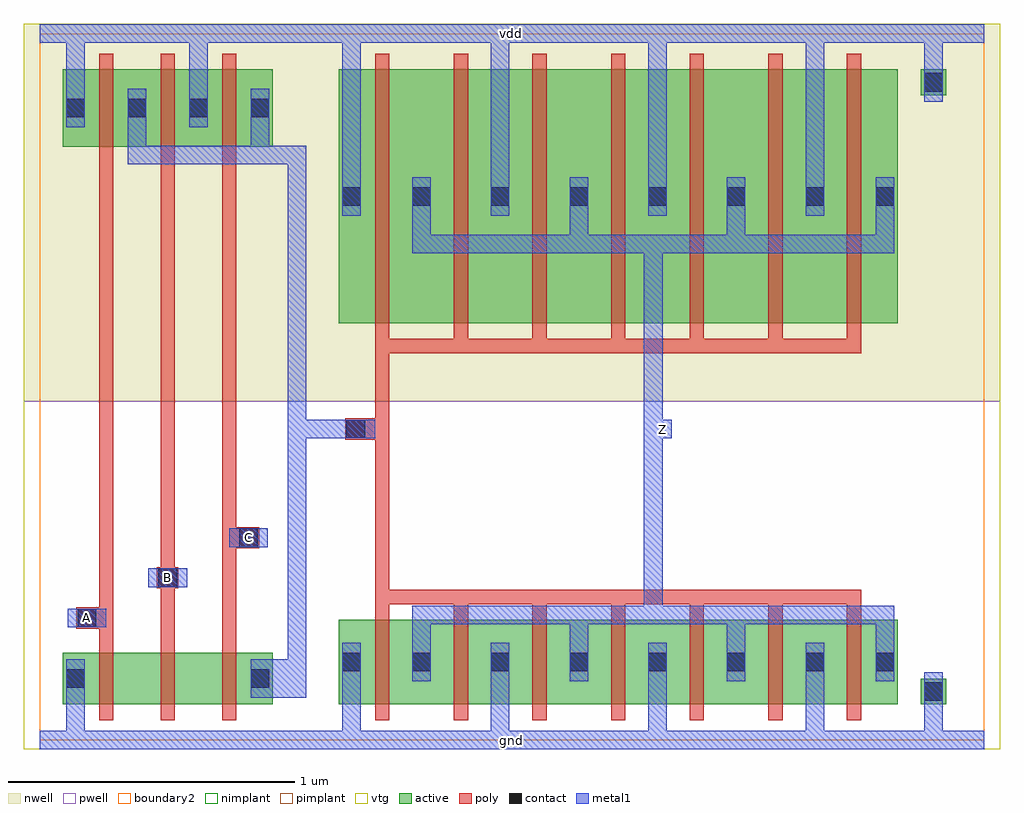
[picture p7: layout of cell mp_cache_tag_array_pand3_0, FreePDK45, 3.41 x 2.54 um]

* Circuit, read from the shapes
.subckt mp_cache_tag_array_pand3_0 A B C Z gnd vdd
M1 mp_cache_tag_array_pnand3_0_0/mp_cache_tag_array_nmos_m1_w0_180_sm1_dactive_3/D A gnd gnd nfet w=0.18u l=0.05u
M2 mp_cache_tag_array_pnand3_0_0/mp_cache_tag_array_nmos_m1_w0_180_sactive_dactive_4/D B mp_cache_tag_array_pnand3_0_0/mp_cache_tag_array_nmos_m1_w0_180_sm1_dactive_3/D gnd nfet w=0.18u l=0.05u
M3 mp_cache_tag_array_pdriver_3_1/A C mp_cache_tag_array_pnand3_0_0/mp_cache_tag_array_nmos_m1_w0_180_sactive_dactive_4/D gnd nfet w=0.18u l=0.05u
M4 Z mp_cache_tag_array_pdriver_3_1/A gnd gnd nfet w=0.295u l=0.05u m=7
M5 mp_cache_tag_array_pdriver_3_1/A A vdd vdd pfet w=0.27u l=0.05u
M6 vdd B mp_cache_tag_array_pdriver_3_1/A vdd pfet w=0.27u l=0.05u
M7 mp_cache_tag_array_pdriver_3_1/A C vdd vdd pfet w=0.27u l=0.05u
M8 Z mp_cache_tag_array_pdriver_3_1/A vdd vdd pfet w=0.8875u l=0.05u m=7
.ends

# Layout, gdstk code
import gdstk
lib = gdstk.Library(unit=1e-6, precision=5e-10)
def R(c, l, rs):  # rectangles x0, y0, x1, y1
    for r in rs: c.add(gdstk.rectangle(r[:2], r[2:], *l))
def A(c, l, x, y, w, h, nx, ny, dx, dy):  # array of equal rectangles
    R(c, l, [(x+i*dx, y+j*dy, x+i*dx+w, y+j*dy+h) for i in range(nx) for j in range(ny)])
active = (1, 0)
pwell = (2, 0)
nwell = (3, 0)
nimplant = (4, 0)
pimplant = (5, 0)
vtg = (6, 0)
poly = (9, 0)
contact = (10, 0)
metal1 = (11, 0)
boundary2 = (239, 0)

mp_cache_tag_array_conta = lib.new_cell('mp_cache_tag_array_contact_11')
R(mp_cache_tag_array_conta, active, [(0,0.0225,0.09,0.1125)])
R(mp_cache_tag_array_conta, nwell, [(-0.055,-0.0325,0.145,0.1675)])
R(mp_cache_tag_array_conta, pimplant, [(0,0.0225,0.09,0.1125)])
R(mp_cache_tag_array_conta, contact, [(0.0125,0.035,0.0775,0.1)])
R(mp_cache_tag_array_conta, metal1, [(0.0125,0,0.0775,0.135)])
R(mp_cache_tag_array_conta, boundary2, [(-0.055,-0.0325,0.145,0.1675)])

mp_cache_tag_array_pmos_ = lib.new_cell('mp_cache_tag_array_pmos_m1_w0_270_sm1_dm1')
R(mp_cache_tag_array_pmos_, active, [(0,0,0.305,0.27)])
R(mp_cache_tag_array_pmos_, nwell, [(-0.08,-0.08,0.385,0.35)])
R(mp_cache_tag_array_pmos_, pimplant, [(0,0,0.305,0.27)])
R(mp_cache_tag_array_pmos_, vtg, [(-0.08,-0.08,0.385,0.35)])
R(mp_cache_tag_array_pmos_, poly, [(0.1275,-0.055,0.1775,0.325), (0.1275,-0.055,0.1775,0.325)])
R(mp_cache_tag_array_pmos_, metal1, [(0.0125,0.0675,0.0775,0.2025), (0.2275,0.0675,0.2925,0.2025)])
R(mp_cache_tag_array_pmos_, boundary2, [(-0.08,-0.08,0.385,0.35)])
mp_cache_tag_array_pmos_.add(gdstk.Reference(mp_cache_tag_array_conta, (0,0.0675)))
mp_cache_tag_array_pmos_.add(gdstk.Reference(mp_cache_tag_array_conta, (0.215,0.0675)))
mp_cache_tag_array_pmos_.add(gdstk.Label('G', (0.1525,0.135), layer=9, texttype=0))
mp_cache_tag_array_pmos_.add(gdstk.Label('S', (0.045,0.135), layer=11, texttype=0))
mp_cache_tag_array_pmos_.add(gdstk.Label('D', (0.26,0.135), layer=11, texttype=0))

c_mp_cache_tag_array_conta = lib.new_cell('mp_cache_tag_array_contact_10')
R(c_mp_cache_tag_array_conta, active, [(0,0.0225,0.09,0.1125)])
R(c_mp_cache_tag_array_conta, pwell, [(-0.055,-0.0325,0.145,0.1675)])
R(c_mp_cache_tag_array_conta, nimplant, [(0,0.0225,0.09,0.1125)])
R(c_mp_cache_tag_array_conta, contact, [(0.0125,0.035,0.0775,0.1)])
R(c_mp_cache_tag_array_conta, metal1, [(0.0125,0,0.0775,0.135)])
R(c_mp_cache_tag_array_conta, boundary2, [(-0.055,-0.0325,0.145,0.1675)])

mp_cache_tag_array_nmos_ = lib.new_cell('mp_cache_tag_array_nmos_m1_w0_180_sm1_dactive')
R(mp_cache_tag_array_nmos_, active, [(0,0,0.305,0.18), (0.215,0.045,0.305,0.135)])
R(mp_cache_tag_array_nmos_, pwell, [(-0.08,-0.08,0.385,0.26)])
R(mp_cache_tag_array_nmos_, nimplant, [(0,0,0.305,0.18)])
R(mp_cache_tag_array_nmos_, vtg, [(-0.08,-0.08,0.385,0.26)])
R(mp_cache_tag_array_nmos_, poly, [(0.1275,-0.055,0.1775,0.235), (0.1275,-0.055,0.1775,0.235)])
R(mp_cache_tag_array_nmos_, metal1, [(0.0125,0.0225,0.0775,0.1575)])
R(mp_cache_tag_array_nmos_, boundary2, [(-0.08,-0.08,0.385,0.26)])
mp_cache_tag_array_nmos_.add(gdstk.Reference(c_mp_cache_tag_array_conta, (0,0.0225)))
mp_cache_tag_array_nmos_.add(gdstk.Label('G', (0.1525,0.09), layer=9, texttype=0))
mp_cache_tag_array_nmos_.add(gdstk.Label('S', (0.045,0.09), layer=11, texttype=0))
mp_cache_tag_array_nmos_.add(gdstk.Label('D', (0.26,0.09), layer=1, texttype=0))

c_mp_cache_tag_array_nmos_ = lib.new_cell('mp_cache_tag_array_nmos_m1_w0_180_sactive_dactive')
R(c_mp_cache_tag_array_nmos_, active, [(0,0,0.305,0.18), (0,0.045,0.09,0.135), (0.215,0.045,0.305,0.135)])
R(c_mp_cache_tag_array_nmos_, pwell, [(-0.08,-0.08,0.385,0.26)])
R(c_mp_cache_tag_array_nmos_, nimplant, [(0,0,0.305,0.18)])
R(c_mp_cache_tag_array_nmos_, vtg, [(-0.08,-0.08,0.385,0.26)])
R(c_mp_cache_tag_array_nmos_, poly, [(0.1275,-0.055,0.1775,0.235), (0.1275,-0.055,0.1775,0.235)])
R(c_mp_cache_tag_array_nmos_, boundary2, [(-0.08,-0.08,0.385,0.26)])
c_mp_cache_tag_array_nmos_.add(gdstk.Label('G', (0.1525,0.09), layer=9, texttype=0))
c_mp_cache_tag_array_nmos_.add(gdstk.Label('S', (0.045,0.09), layer=1, texttype=0))
c_mp_cache_tag_array_nmos_.add(gdstk.Label('D', (0.26,0.09), layer=1, texttype=0))

c_mp_cache_tag_array_nmos__ = lib.new_cell('mp_cache_tag_array_nmos_m1_w0_180_sactive_dm1')
R(c_mp_cache_tag_array_nmos__, active, [(0,0,0.305,0.18), (0,0.045,0.09,0.135)])
R(c_mp_cache_tag_array_nmos__, pwell, [(-0.08,-0.08,0.385,0.26)])
R(c_mp_cache_tag_array_nmos__, nimplant, [(0,0,0.305,0.18)])
R(c_mp_cache_tag_array_nmos__, vtg, [(-0.08,-0.08,0.385,0.26)])
R(c_mp_cache_tag_array_nmos__, poly, [(0.1275,-0.055,0.1775,0.235), (0.1275,-0.055,0.1775,0.235)])
R(c_mp_cache_tag_array_nmos__, metal1, [(0.2275,0.0225,0.2925,0.1575)])
R(c_mp_cache_tag_array_nmos__, boundary2, [(-0.08,-0.08,0.385,0.26)])
c_mp_cache_tag_array_nmos__.add(gdstk.Reference(c_mp_cache_tag_array_conta, (0.215,0.0225)))
c_mp_cache_tag_array_nmos__.add(gdstk.Label('G', (0.1525,0.09), layer=9, texttype=0))
c_mp_cache_tag_array_nmos__.add(gdstk.Label('S', (0.045,0.09), layer=1, texttype=0))
c_mp_cache_tag_array_nmos__.add(gdstk.Label('D', (0.26,0.09), layer=11, texttype=0))

c_mp_cache_tag_array_conta_ = lib.new_cell('mp_cache_tag_array_contact_14')
R(c_mp_cache_tag_array_conta_, poly, [(0.03,0,0.105,0.075)])
R(c_mp_cache_tag_array_conta_, contact, [(0.035,0.005,0.1,0.07)])
R(c_mp_cache_tag_array_conta_, metal1, [(0,0.005,0.135,0.07)])
R(c_mp_cache_tag_array_conta_, boundary2, [(0,0,0.135,0.075)])

mp_cache_tag_array_pnand = lib.new_cell('mp_cache_tag_array_pnand3_0')
R(mp_cache_tag_array_pnand, pwell, [(-0.055,-0.0325,1.02,1.185)])
R(mp_cache_tag_array_pnand, nwell, [(-0.055,1.185,1.02,2.505)])
R(mp_cache_tag_array_pnand, vtg, [(-0.055,-0.0325,1.02,1.185), (-0.055,1.185,1.02,2.505)])
A(mp_cache_tag_array_pnand, poly, 0.2075, 0.36, 0.05, 1.66, 3, 1, 0.215, 0)
R(mp_cache_tag_array_pnand, poly, [(0.165,0.39,0.2075,0.465), (0.4225,0.53,0.4475,0.605), (0.6375,0.67,0.73,0.745)])
R(mp_cache_tag_array_pnand, metal1, [(0,-0.0325,0.965,0.0325), (0.0925,-0.0325,0.1575,0.1475), (0.77,0.1475,0.9,0.2825), (0.8675,0.1475,0.9325,2.045), (0.0975,0.395,0.2325,0.46), (0.38,0.535,0.515,0.6), (0.6625,0.675,0.7975,0.74), (0.3075,2.0125,0.3725,2.0775), (0.34,2.0125,0.9,2.0775), (0.7375,2.0125,0.8025,2.0775), (0.77,2.0125,0.9,2.0775), (0.8675,2.0125,0.9325,2.0775), (0.3075,2.045,0.3725,2.21), (0.7375,2.045,0.8025,2.21), (0.0925,2.1425,0.1575,2.5025), (0.5225,2.1425,0.5875,2.5025), (0,2.4375,0.965,2.5025)])
R(mp_cache_tag_array_pnand, boundary2, [(0,0,0.965,2.47), (0,0,0.965,2.47)])
mp_cache_tag_array_pnand.add(gdstk.Reference(mp_cache_tag_array_pmos_, (0.08,2.075)))
mp_cache_tag_array_pnand.add(gdstk.Reference(mp_cache_tag_array_pmos_, (0.295,2.075)))
mp_cache_tag_array_pnand.add(gdstk.Reference(mp_cache_tag_array_pmos_, (0.51,2.075)))
mp_cache_tag_array_pnand.add(gdstk.Reference(mp_cache_tag_array_nmos_, (0.08,0.125)))
mp_cache_tag_array_pnand.add(gdstk.Reference(c_mp_cache_tag_array_nmos_, (0.295,0.125)))
mp_cache_tag_array_pnand.add(gdstk.Reference(c_mp_cache_tag_array_nmos__, (0.51,0.125)))
mp_cache_tag_array_pnand.add(gdstk.Reference(c_mp_cache_tag_array_conta_, (0.0975,0.39)))
mp_cache_tag_array_pnand.add(gdstk.Reference(c_mp_cache_tag_array_conta_, (0.38,0.53)))
mp_cache_tag_array_pnand.add(gdstk.Reference(c_mp_cache_tag_array_conta_, (0.6625,0.67)))
mp_cache_tag_array_pnand.add(gdstk.Label('A', (0.165,0.4275), layer=11, texttype=0))
mp_cache_tag_array_pnand.add(gdstk.Label('B', (0.4475,0.5675), layer=11, texttype=0))
mp_cache_tag_array_pnand.add(gdstk.Label('C', (0.73,0.7075), layer=11, texttype=0))
mp_cache_tag_array_pnand.add(gdstk.Label('Z', (0.9,2.045), layer=11, texttype=0))
mp_cache_tag_array_pnand.add(gdstk.Label('gnd', (0.4825,0), layer=11, texttype=0))
mp_cache_tag_array_pnand.add(gdstk.Label('vdd', (0.4825,2.47), layer=11, texttype=0))

c_mp_cache_tag_array_pmos_ = lib.new_cell('mp_cache_tag_array_pmos_m7_w0_888_sm1_dm1_da_p')
R(c_mp_cache_tag_array_pmos_, active, [(0,0,1.955,0.8875)])
R(c_mp_cache_tag_array_pmos_, nwell, [(-0.08,-0.08,2.035,0.9675)])
R(c_mp_cache_tag_array_pmos_, pimplant, [(0,0,1.955,0.8875)])
R(c_mp_cache_tag_array_pmos_, vtg, [(-0.08,-0.08,2.035,0.9675)])
A(c_mp_cache_tag_array_pmos_, poly, 0.1275, -0.055, 0.05, 0.9975, 7, 1, 0.275, 0)
R(c_mp_cache_tag_array_pmos_, poly, [(0.1275,-0.105,1.8275,-0.055)])
A(c_mp_cache_tag_array_pmos_, metal1, 0.2575, 0.28, 0.065, 0.165, 3, 1, 0.55, 0)
A(c_mp_cache_tag_array_pmos_, metal1, 0.5325, 0.375, 0.065, 0.135, 3, 1, 0.55, 0)
R(c_mp_cache_tag_array_pmos_, metal1, [(0.2575,0.245,1.9425,0.31), (1.8775,0.28,1.9425,0.445), (0.0125,0.375,0.0775,0.51)])
R(c_mp_cache_tag_array_pmos_, boundary2, [(-0.08,-0.105,2.035,0.9675)])
c_mp_cache_tag_array_pmos_.add(gdstk.Reference(mp_cache_tag_array_conta, (0,0.375)))
c_mp_cache_tag_array_pmos_.add(gdstk.Reference(mp_cache_tag_array_conta, (0.245,0.375)))
c_mp_cache_tag_array_pmos_.add(gdstk.Reference(mp_cache_tag_array_conta, (0.52,0.375)))
c_mp_cache_tag_array_pmos_.add(gdstk.Reference(mp_cache_tag_array_conta, (0.795,0.375)))
c_mp_cache_tag_array_pmos_.add(gdstk.Reference(mp_cache_tag_array_conta, (1.07,0.375)))
c_mp_cache_tag_array_pmos_.add(gdstk.Reference(mp_cache_tag_array_conta, (1.345,0.375)))
c_mp_cache_tag_array_pmos_.add(gdstk.Reference(mp_cache_tag_array_conta, (1.62,0.375)))
c_mp_cache_tag_array_pmos_.add(gdstk.Reference(mp_cache_tag_array_conta, (1.865,0.375)))
c_mp_cache_tag_array_pmos_.add(gdstk.Label('G', (0.9775,-0.08), layer=9, texttype=0))
c_mp_cache_tag_array_pmos_.add(gdstk.Label('S', (1.665,0.4425), layer=11, texttype=0))
c_mp_cache_tag_array_pmos_.add(gdstk.Label('S', (0.045,0.4425), layer=11, texttype=0))
c_mp_cache_tag_array_pmos_.add(gdstk.Label('S', (1.115,0.4425), layer=11, texttype=0))
c_mp_cache_tag_array_pmos_.add(gdstk.Label('S', (0.565,0.4425), layer=11, texttype=0))
c_mp_cache_tag_array_pmos_.add(gdstk.Label('D', (1.1,0.2775), layer=11, texttype=0))

c_mp_cache_tag_array_nmos___ = lib.new_cell('mp_cache_tag_array_nmos_m7_w0_295_sm1_dm1_da_p')
R(c_mp_cache_tag_array_nmos___, active, [(0,0,1.955,0.295)])
R(c_mp_cache_tag_array_nmos___, pwell, [(-0.08,-0.08,2.035,0.375)])
R(c_mp_cache_tag_array_nmos___, nimplant, [(0,0,1.955,0.295)])
R(c_mp_cache_tag_array_nmos___, vtg, [(-0.08,-0.08,2.035,0.375)])
A(c_mp_cache_tag_array_nmos___, poly, 0.1275, -0.055, 0.05, 0.405, 7, 1, 0.275, 0)
R(c_mp_cache_tag_array_nmos___, poly, [(0.1275,0.35,1.8275,0.4)])
A(c_mp_cache_tag_array_nmos___, metal1, 0.5325, 0.08, 0.065, 0.135, 3, 1, 0.55, 0)
A(c_mp_cache_tag_array_nmos___, metal1, 0.2575, 0.1475, 0.065, 0.165, 3, 1, 0.55, 0)
R(c_mp_cache_tag_array_nmos___, metal1, [(0.0125,0.08,0.0775,0.215), (1.8775,0.1475,1.9425,0.3125), (0.2575,0.28,1.9425,0.345)])
R(c_mp_cache_tag_array_nmos___, boundary2, [(-0.08,-0.08,2.035,0.4)])
c_mp_cache_tag_array_nmos___.add(gdstk.Reference(c_mp_cache_tag_array_conta, (0,0.08)))
c_mp_cache_tag_array_nmos___.add(gdstk.Reference(c_mp_cache_tag_array_conta, (0.245,0.08)))
c_mp_cache_tag_array_nmos___.add(gdstk.Reference(c_mp_cache_tag_array_conta, (0.52,0.08)))
c_mp_cache_tag_array_nmos___.add(gdstk.Reference(c_mp_cache_tag_array_conta, (0.795,0.08)))
c_mp_cache_tag_array_nmos___.add(gdstk.Reference(c_mp_cache_tag_array_conta, (1.07,0.08)))
c_mp_cache_tag_array_nmos___.add(gdstk.Reference(c_mp_cache_tag_array_conta, (1.345,0.08)))
c_mp_cache_tag_array_nmos___.add(gdstk.Reference(c_mp_cache_tag_array_conta, (1.62,0.08)))
c_mp_cache_tag_array_nmos___.add(gdstk.Reference(c_mp_cache_tag_array_conta, (1.865,0.08)))
c_mp_cache_tag_array_nmos___.add(gdstk.Label('G', (0.9775,0.375), layer=9, texttype=0))
c_mp_cache_tag_array_nmos___.add(gdstk.Label('S', (0.045,0.1475), layer=11, texttype=0))
c_mp_cache_tag_array_nmos___.add(gdstk.Label('S', (1.665,0.1475), layer=11, texttype=0))
c_mp_cache_tag_array_nmos___.add(gdstk.Label('S', (0.565,0.1475), layer=11, texttype=0))
c_mp_cache_tag_array_nmos___.add(gdstk.Label('S', (1.115,0.1475), layer=11, texttype=0))
c_mp_cache_tag_array_nmos___.add(gdstk.Label('D', (1.1,0.3125), layer=11, texttype=0))

c_mp_cache_tag_array_conta__ = lib.new_cell('mp_cache_tag_array_contact_12')
R(c_mp_cache_tag_array_conta__, active, [(0,0.0225,0.09,0.1125)])
R(c_mp_cache_tag_array_conta__, nwell, [(-0.055,-0.0325,0.145,0.1675)])
R(c_mp_cache_tag_array_conta__, nimplant, [(0,0.0225,0.09,0.1125)])
R(c_mp_cache_tag_array_conta__, contact, [(0.0125,0.035,0.0775,0.1)])
R(c_mp_cache_tag_array_conta__, metal1, [(0.0125,0,0.0775,0.135)])
R(c_mp_cache_tag_array_conta__, boundary2, [(-0.055,-0.0325,0.145,0.1675)])

c_mp_cache_tag_array_conta___ = lib.new_cell('mp_cache_tag_array_contact_13')
R(c_mp_cache_tag_array_conta___, active, [(0,0.0225,0.09,0.1125)])
R(c_mp_cache_tag_array_conta___, pwell, [(-0.055,-0.0325,0.145,0.1675)])
R(c_mp_cache_tag_array_conta___, pimplant, [(0,0.0225,0.09,0.1125)])
R(c_mp_cache_tag_array_conta___, contact, [(0.0125,0.035,0.0775,0.1)])
R(c_mp_cache_tag_array_conta___, metal1, [(0.0125,0,0.0775,0.135)])
R(c_mp_cache_tag_array_conta___, boundary2, [(-0.055,-0.0325,0.145,0.1675)])

mp_cache_tag_array_pinv_ = lib.new_cell('mp_cache_tag_array_pinv_13')
R(mp_cache_tag_array_pinv_, pwell, [(-0.055,-0.0325,2.3925,1.185)])
R(mp_cache_tag_array_pinv_, nwell, [(-0.055,1.185,2.3925,2.505)])
R(mp_cache_tag_array_pinv_, vtg, [(-0.055,-0.0325,2.3925,1.185), (-0.055,1.185,2.3925,2.505)])
R(mp_cache_tag_array_pinv_, poly, [(0.2075,0.525,0.2575,1.3525), (0.14,1.05,0.2075,1.125)])
A(mp_cache_tag_array_pinv_, metal1, 0.6125, -0.0325, 0.065, 0.2375, 3, 1, 0.55, 0)
A(mp_cache_tag_array_pinv_, metal1, 0.6125, 1.8325, 0.065, 0.67, 3, 1, 0.55, 0)
R(mp_cache_tag_array_pinv_, metal1, [(0,-0.0325,2.3375,0.0325), (0.0925,-0.0325,0.1575,0.205), (2.1275,0,2.1925,0.17), (1.1475,0.405,1.2125,1.7675), (0.0725,1.055,0.2075,1.12), (1.18,1.055,1.245,1.12), (0.0925,1.8325,0.1575,2.5025), (2.1275,2.3,2.1925,2.47), (0,2.4375,2.3375,2.5025)])
R(mp_cache_tag_array_pinv_, boundary2, [(0,0,2.3375,2.47), (0,0,2.3375,2.47)])
mp_cache_tag_array_pinv_.add(gdstk.Reference(c_mp_cache_tag_array_pmos_, (0.08,1.4575)))
mp_cache_tag_array_pinv_.add(gdstk.Reference(c_mp_cache_tag_array_nmos___, (0.08,0.125)))
mp_cache_tag_array_pinv_.add(gdstk.Reference(c_mp_cache_tag_array_conta__, (2.115,2.2325)))
mp_cache_tag_array_pinv_.add(gdstk.Reference(c_mp_cache_tag_array_conta___, (2.115,0.1025)))
mp_cache_tag_array_pinv_.add(gdstk.Reference(c_mp_cache_tag_array_conta_, (0.0725,1.05)))
mp_cache_tag_array_pinv_.add(gdstk.Label('A', (0.14,1.0875), layer=11, texttype=0))
mp_cache_tag_array_pinv_.add(gdstk.Label('Z', (1.2125,1.0875), layer=11, texttype=0))
mp_cache_tag_array_pinv_.add(gdstk.Label('gnd', (1.169,0), layer=11, texttype=0))
mp_cache_tag_array_pinv_.add(gdstk.Label('vdd', (1.169,2.47), layer=11, texttype=0))

mp_cache_tag_array_pdriv = lib.new_cell('mp_cache_tag_array_pdriver_3')
R(mp_cache_tag_array_pdriv, pwell, [(-0.055,-0.0325,2.3925,1.185)])
R(mp_cache_tag_array_pdriv, nwell, [(-0.055,1.185,2.3925,2.505)])
R(mp_cache_tag_array_pdriv, vtg, [(-0.055,-0.0325,2.3925,1.185), (-0.055,1.185,2.3925,2.505)])
R(mp_cache_tag_array_pdriv, metal1, [(0,-0.0325,2.3375,0.0325), (0.0725,1.055,0.2075,1.12), (1.18,1.055,1.245,1.12), (0,2.4375,2.3375,2.5025)])
R(mp_cache_tag_array_pdriv, boundary2, [(0,0,2.3375,2.47), (0,0,2.3375,2.47)])
mp_cache_tag_array_pdriv.add(gdstk.Reference(mp_cache_tag_array_pinv_, (0,0)))
mp_cache_tag_array_pdriv.add(gdstk.Label('Z', (1.2125,1.0875), layer=11, texttype=0))
mp_cache_tag_array_pdriv.add(gdstk.Label('A', (0.14,1.0875), layer=11, texttype=0))
mp_cache_tag_array_pdriv.add(gdstk.Label('gnd', (1.169,0), layer=11, texttype=0))
mp_cache_tag_array_pdriv.add(gdstk.Label('vdd', (1.169,2.47), layer=11, texttype=0))

mp_cache_tag_array_pand3 = lib.new_cell('mp_cache_tag_array_pand3_0')
R(mp_cache_tag_array_pand3, metal1, [(0,-0.0325,3.3025,0.0325), (0.0975,0.395,0.2325,0.46), (0.38,0.535,0.515,0.6), (0.6625,0.675,0.7975,0.74), (0.8675,1.055,0.9325,1.12), (0.9,1.055,1.105,1.12), (2.145,1.055,2.21,1.12), (0.8675,1.0875,0.9325,2.045), (0,2.4375,3.3025,2.5025)])
R(mp_cache_tag_array_pand3, boundary2, [(0,0,3.3025,2.47), (0,0,3.3025,2.47)])
mp_cache_tag_array_pand3.add(gdstk.Reference(mp_cache_tag_array_pnand, (0,0)))
mp_cache_tag_array_pand3.add(gdstk.Reference(mp_cache_tag_array_pdriv, (0.965,0)))
mp_cache_tag_array_pand3.add(gdstk.Label('Z', (2.1775,1.0875), layer=11, texttype=0))
mp_cache_tag_array_pand3.add(gdstk.Label('A', (0.165,0.4275), layer=11, texttype=0))
mp_cache_tag_array_pand3.add(gdstk.Label('B', (0.4475,0.5675), layer=11, texttype=0))
mp_cache_tag_array_pand3.add(gdstk.Label('C', (0.73,0.7075), layer=11, texttype=0))
mp_cache_tag_array_pand3.add(gdstk.Label('gnd', (1.651,0), layer=11, texttype=0))
mp_cache_tag_array_pand3.add(gdstk.Label('vdd', (1.651,2.47), layer=11, texttype=0))

lib.write_gds('mp_cache_tag_array_pand3_0.gds')
